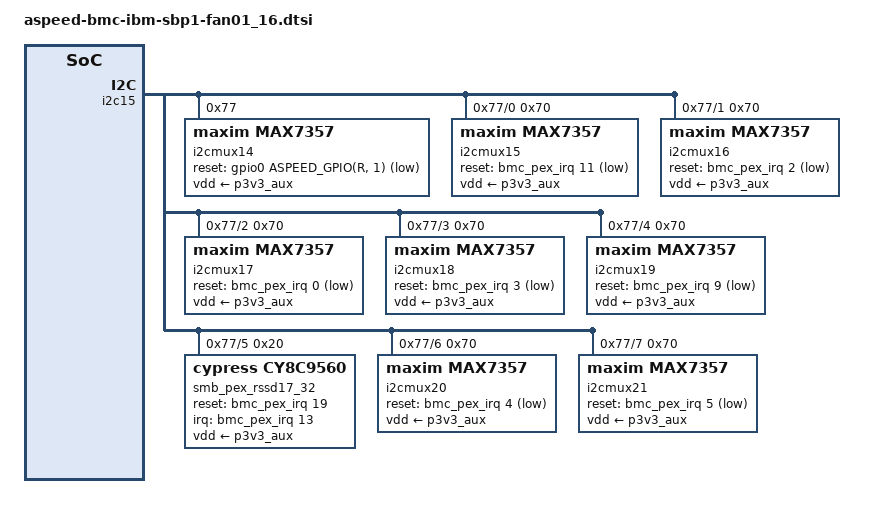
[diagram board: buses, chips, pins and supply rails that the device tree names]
&i2c15 { // BMC_MUX_FANPWM_RSSD01_16
	status = "okay";
	// Bus frequency limited to 100KHz by cy8c9560

	i2cmux14: mux@77 {
		#address-cells = <1>;
		#size-cells = <0>;
		compatible = "maxim,max7357";
		reg = <0x77>;
		reset-gpios = <&gpio0 ASPEED_GPIO(R, 1) (GPIO_ACTIVE_LOW | GPIO_OPEN_DRAIN)>; // BMC_MUX_FANPWM_RSSD01_16_RST_INT_N
		vdd-supply = <&p3v3_aux>;

		i2c@0 { // SMB_MUX_PWM_FANGRP0
			#address-cells = <1>;
			#size-cells = <0>;
			reg = <0>;
			i2cmux15: mux@70 {
				compatible = "maxim,max7357";
				#address-cells = <1>;
				#size-cells = <0>;
				reg = <0x70>;
				reset-gpios = <&bmc_pex_irq 11 (GPIO_ACTIVE_LOW | GPIO_OPEN_DRAIN)>; // SMB_MUX_PWM_FANGRP0_RST_INT_N
				vdd-supply = <&p3v3_aux>;
			};
		};
		i2c@1 { // SMB_MUX_PWM_FANGRP1
			#address-cells = <1>;
			#size-cells = <0>;
			reg = <1>;

			i2cmux16: mux@70 {
				compatible = "maxim,max7357";
				#address-cells = <1>;
				#size-cells = <0>;
				reg = <0x70>;
				reset-gpios = <&bmc_pex_irq 2 (GPIO_ACTIVE_LOW | GPIO_OPEN_DRAIN)>; // SMB_MUX_PWM_FANGRP1_RST_INT_N
				vdd-supply = <&p3v3_aux>;
			};
		};
		i2c@2 { // SMB_MUX_PWM_FANGRP2
			#address-cells = <1>;
			#size-cells = <0>;
			reg = <2>;

			i2cmux17: mux@70 {
				compatible = "maxim,max7357";
				#address-cells = <1>;
				#size-cells = <0>;
				reg = <0x70>;
				reset-gpios = <&bmc_pex_irq 0 (GPIO_ACTIVE_LOW | GPIO_OPEN_DRAIN)>; // SMB_MUX_PWM_FANGRP2_RST_INT_N
				vdd-supply = <&p3v3_aux>;
			};
		};
		i2c@3 { // SMB_MUX_SSB_RSSD01_08
			#address-cells = <1>;
			#size-cells = <0>;
			reg = <3>;

			i2cmux18: mux@70 {
				compatible = "maxim,max7357";
				#address-cells = <1>;
				#size-cells = <0>;
				reg = <0x70>;
				reset-gpios = <&bmc_pex_irq 3 (GPIO_ACTIVE_LOW | GPIO_OPEN_DRAIN)>; // SMB_MUX_SSB_RSSD01_08_RST_INT_N
				vdd-supply = <&p3v3_aux>;
			};
		};
		i2c@4 { // SMB_MUX_SSB_RSSD09_16
			#address-cells = <1>;
			#size-cells = <0>;
			reg = <4>;

			i2cmux19: mux@70 {
				compatible = "maxim,max7357";
				#address-cells = <1>;
				#size-cells = <0>;
				reg = <0x70>;
				reset-gpios = <&bmc_pex_irq 9 (GPIO_ACTIVE_LOW | GPIO_OPEN_DRAIN)>; // SMB_MUX_SSB_RSSD09_16_RST_INT_N
				vdd-supply = <&p3v3_aux>;
			};
		};
		i2c@5 { // SMB_PEX_RSSD17_32
			#address-cells = <1>;
			#size-cells = <0>;
			reg = <5>;

			smb_pex_rssd17_32: U62150@20 {
				#address-cells = <1>;
				#size-cells = <0>;
				compatible = "cypress,cy8c9560";
				reg = <0x20>;
				gpio-controller;
				#gpio-cells = <2>;
				#interrupt-cells=<2>;
				interrupt-parent = <&bmc_pex_irq>;
				// using SMB_PEX_RSSD17_32_INT
				interrupts = <13 IRQ_TYPE_LEVEL_HIGH>;
				interrupt-controller;
				vdd-supply = <&p3v3_aux>;
				// Reset is PEX_RSSD17_32_RST
				reset-gpios = <&bmc_pex_irq 19 GPIO_ACTIVE_HIGH>;

				ngpios = <48>;
				gpio-reserved-ranges = <48 12>;

				gpio-line-names =
				/* GPORT0 */
				"RSSD17_SMBRST_N", "RSSD18_SMBRST_N",
				"RSSD19_SMBRST_N", "RSSD20_SMBRST_N",
				"RSSD21_SMBRST_N", "RSSD22_SMBRST_N",
				"RSSD23_SMBRST_N", "RSSD24_SMBRST_N",
				/* GPORT1*/
				"RSSD25_SMBRST_N", "RSSD26_SMBRST_N",
				"RSSD27_SMBRST_N", "RSSD28_SMBRST_N",
				"RSSD29_SMBRST_N", "RSSD30_SMBRST_N",
				"RSSD31_SMBRST_N", "RSSD32_SMBRST_N",
				/* GPORT2*/
				"RSSD17_PWRDIS", "RSSD18_PWRDIS",
				"RSSD19_PWRDIS", "RSSD20_PWRDIS",
				/* GPORT3*/
				"RSSD21_PWRDIS", "RSSD22_PWRDIS",
				"RSSD23_PWRDIS", "RSSD24_PWRDIS",
				"RSSD25_PWRDIS", "RSSD26_PWRDIS",
				"RSSD27_PWRDIS", "RSSD28_PWRDIS",
				/* GPORT4*/
				"RSSD29_PWRDIS", "RSSD30_PWRDIS",
				"RSSD31_PWRDIS", "RSSD32_PWRDIS",
				"RSSD17_RESET_N", "RSSD18_RESET_N",
				"RSSD19_RESET_N", "RSSD20_RESET_N",
				/* GPORT5*/
				"RSSD21_RESET_N", "RSSD22_RESET_N",
				"RSSD23_RESET_N", "RSSD24_RESET_N",
				"RSSD25_RESET_N", "RSSD26_RESET_N",
				"RSSD27_RESET_N", "RSSD28_RESET_N",
				/* GPORT6*/
				"RSSD29_RESET_N", "RSSD30_RESET_N",
				"RSSD31_RESET_N", "RSSD32_RESET_N",
				"", "",
				"", "",
				/* GPORT7*/
				"", "",
				"", "",
				"", "",
				"", "";
				pinctrl-0 = <&U62150_pins>;
				pinctrl-names = "default";
				U62150_pins: pin-cfg {
					input {
						pins = "gp20", "gp21", "gp22", "gp23", "gp30",
						"gp31", "gp32", "gp33", "gp34", "gp35", "gp36",
						"gp37", "gp40", "gp41", "gp42", "gp43", "gp44",
						"gp45", "gp46", "gp47", "gp50", "gp51", "gp52",
						"gp53", "gp54", "gp55", "gp56", "gp57", "gp60",
						"gp61", "gp62", "gp63";
						function = "gpio";
						input-enable;
					};
					out-high {
						pins = "gp00", "gp01", "gp02", "gp03", "gp04",
						"gp05", "gp06", "gp07", "gp10", "gp11", "gp12",
						"gp13", "gp14", "gp15", "gp16", "gp17";
						function = "gpio";
						output-enable;
						output-high;
					};
				};
			};
		};
		i2c@6 { // SMB_MUX_RSSD01_08
			#address-cells = <1>;
			#size-cells = <0>;
			reg = <6>;

			i2cmux20: mux@70 {
				compatible = "maxim,max7357";
				#address-cells = <1>;
				#size-cells = <0>;
				reg = <0x70>;
				reset-gpios = <&bmc_pex_irq 4 (GPIO_ACTIVE_LOW | GPIO_OPEN_DRAIN)>; // SMB_MUX_RSSD01_08_RST_INT_N
				vdd-supply = <&p3v3_aux>;

				i2c@0 { // SMB_RSSD01
					#address-cells = <1>;
					#size-cells = <0>;
					reg = <0>;
				};
				i2c@1 { // SMB_RSSD02
					#address-cells = <1>;
					#size-cells = <0>;
					reg = <1>;
				};
				i2c@2 { // SMB_RSSD03
					#address-cells = <1>;
					#size-cells = <0>;
					reg = <2>;
				};
				i2c@3 { // SMB_RSSD04
					#address-cells = <1>;
					#size-cells = <0>;
					reg = <3>;
				};
				i2c@4 { // SMB_RSSD05
					#address-cells = <1>;
					#size-cells = <0>;
					reg = <4>;
				};
				i2c@5 { // SMB_RSSD06
					#address-cells = <1>;
					#size-cells = <0>;
					reg = <5>;
				};
				i2c@6 { // SMB_RSSD07
					#address-cells = <1>;
					#size-cells = <0>;
					reg = <6>;
				};
				i2c@7 { // SMB_RSSD08
					#address-cells = <1>;
					#size-cells = <0>;
					reg = <7>;
				};
			};
		};
		i2c@7 { // SMB_MUX_RSSD09_16
			#address-cells = <1>;
			#size-cells = <0>;
			reg = <7>;

			i2cmux21: mux@70 {
				compatible = "maxim,max7357";
				#address-cells = <1>;
				#size-cells = <0>;
				reg = <0x70>;
				reset-gpios = <&bmc_pex_irq 5 (GPIO_ACTIVE_LOW | GPIO_OPEN_DRAIN)>; // MB_MUX_RSSD09_16_RST_INT_N
				vdd-supply = <&p3v3_aux>;

				i2c@0 { // SMB_RSSD09
					#address-cells = <1>;
					#size-cells = <0>;
					reg = <0>;
				};
				i2c@1 { // SMB_RSSD10
					#address-cells = <1>;
					#size-cells = <0>;
					reg = <1>;
				};
				i2c@2 { // SMB_RSSD11
					#address-cells = <1>;
					#size-cells = <0>;
					reg = <2>;
				};
				i2c@3 { // SMB_RSSD12
					#address-cells = <1>;
					#size-cells = <0>;
					reg = <3>;
				};
				i2c@4 { // SMB_RSSD13
					#address-cells = <1>;
					#size-cells = <0>;
					reg = <4>;
				};
				i2c@5 { // SMB_RSSD14
					#address-cells = <1>;
					#size-cells = <0>;
					reg = <5>;
				};
				i2c@6 { // SMB_RSSD15
					#address-cells = <1>;
					#size-cells = <0>;
					reg = <6>;
				};
				i2c@7 { // SMB_RSSD16
					#address-cells = <1>;
					#size-cells = <0>;
					reg = <7>;
				};
			};
		};
	};
};
